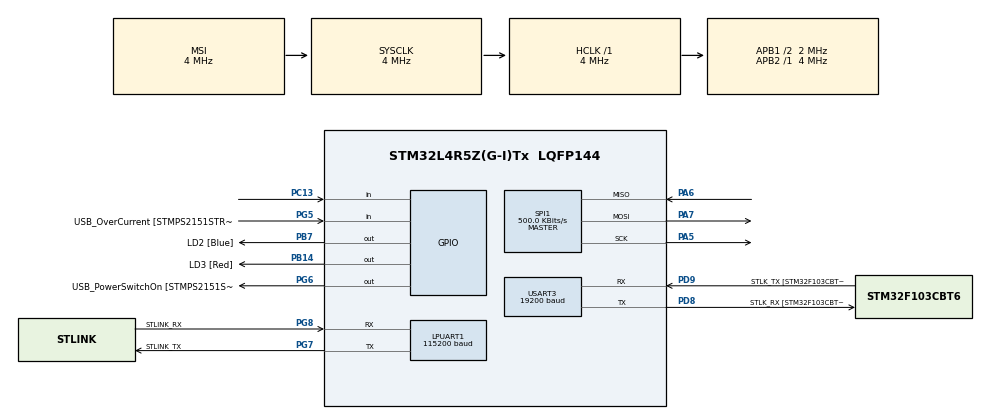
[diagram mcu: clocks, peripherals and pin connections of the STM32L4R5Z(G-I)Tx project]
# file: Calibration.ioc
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LPUART1.BaudRate=115200
LPUART1.WordLength=UART_WORDLENGTH_8B
Mcu.Family=STM32L4
Mcu.Name=STM32L4R5Z(G-I)Tx
Mcu.Package=LQFP144
NVIC.PriorityGroup=NVIC_PRIORITYGROUP_4
PA10.GPIO_Label=USB_ID
PA10.Signal=USB_OTG_FS_ID
PA11.GPIO_Label=USB_DM
PA11.Signal=USB_OTG_FS_DM
PA12.GPIO_Label=USB_DP
PA12.Signal=USB_OTG_FS_DP
PA13\ (JTMS/SWDIO).GPIO_Label=TMS
PA13\ (JTMS/SWDIO).Mode=Trace_Asynchronous_SW
PA13\ (JTMS/SWDIO).Signal=SYS_JTMS-SWDIO
PA14\ (JTCK/SWCLK).GPIO_Label=TCK
PA14\ (JTCK/SWCLK).Mode=Trace_Asynchronous_SW
PA14\ (JTCK/SWCLK).Signal=SYS_JTCK-SWCLK
PA5.Mode=Full_Duplex_Master
PA5.Signal=SPI1_SCK
PA6.Mode=Full_Duplex_Master
PA6.Signal=SPI1_MISO
PA7.Mode=Full_Duplex_Master
PA7.Signal=SPI1_MOSI
PA8.GPIO_Label=USB_SOF [TP1]
PA8.Signal=USB_OTG_FS_SOF
PA9.GPIO_Label=USB_VBUS
PA9.Signal=USB_OTG_FS_VBUS
PB14.GPIO_Label=LD3 [Red]
PB14.Signal=GPIO_Output
PB3\ (JTDO/TRACESWO).GPIO_Label=SWO
PB3\ (JTDO/TRACESWO).Mode=Trace_Asynchronous_SW
PB3\ (JTDO/TRACESWO).Signal=SYS_JTDO-SWO
PB7.GPIO_Label=LD2 [Blue]
PB7.Signal=GPIO_Output
PC13.Signal=GPIO_Input
PC14-OSC32_IN\ (PC14).Mode=LSE-External-Oscillator
PC14-OSC32_IN\ (PC14).Signal=RCC_OSC32_IN
PC15-OSC32_OUT\ (PC15).Mode=LSE-External-Oscillator
PC15-OSC32_OUT\ (PC15).Signal=RCC_OSC32_OUT
PD8.GPIO_Label=STLK_RX [STM32F103CBT6_PA3]
PD8.Mode=Asynchronous
PD8.Signal=USART3_TX
PD9.GPIO_Label=STLK_TX [STM32F103CBT6_PA2]
PD9.Mode=Asynchronous
PD9.Signal=USART3_RX
PG5.GPIO_Label=USB_OverCurrent [STMPS2151STR_FAULT]
PG5.Signal=GPIO_Input
PG6.GPIO_Label=USB_PowerSwitchOn [STMPS2151STR_En]
PG6.Signal=GPIO_Output
PG7.GPIO_Label=STLINK_TX
PG7.Mode=Asynchronous
PG7.Signal=LPUART1_TX
PG8.GPIO_Label=STLINK_RX
PG8.Mode=Asynchronous
PG8.Signal=LPUART1_RX
PH0-OSC_IN\ (PH0).Mode=HSE-External-Clock-Source
PH0-OSC_IN\ (PH0).Signal=RCC_OSC_IN
PH1-OSC_OUT\ (PH1).Signal=RCC_OSC_OUT
ProjectManager.HeapSize=0x200
ProjectManager.StackSize=0x400
ProjectManager.TargetToolchain=STM32CubeIDE
RCC.48MHZClocksFreq_Value=24000000
RCC.AHBFreq_Value=4000000
RCC.APB1CLKDivider=RCC_HCLK_DIV2
RCC.APB1Freq_Value=2000000
RCC.APB1TimFreq_Value=4000000
RCC.APB2Freq_Value=4000000
RCC.APB2TimFreq_Value=4000000
RCC.CortexFreq_Value=4000000
RCC.HCLKFreq_Value=4000000
RCC.HSE_VALUE=8000000
RCC.HSI48_VALUE=48000000
RCC.HSI_VALUE=16000000
RCC.MSI_VALUE=4000000
RCC.PLLMUL=RCC_PLL_MUL9
RCC.PRESCALERUSB=RCC_USBCLKSOURCE_PLL_DIV1_5
RCC.SYSCLKFreq_VALUE=4000000
RCC.SYSCLKSourceVirtual=RCC_SYSCLKSOURCE_PLLCLK
RCC.USBFreq_Value=16000000
RCC.VCOOutputFreq_Value=32000000
SPI1.BaudRatePrescaler=SPI_BAUDRATEPRESCALER_8
SPI1.CalculateBaudRate=500.0 KBits/s
SPI1.DataSize=SPI_DATASIZE_8BIT
SPI1.Direction=SPI_DIRECTION_2LINES
SPI1.Mode=SPI_MODE_MASTER
SPI1.VirtualType=VM_MASTER
USART3.BaudRate=19200
USART3.VirtualMode-Asynchronous=VM_ASYNC
board=NUCLEO-L4R5ZI

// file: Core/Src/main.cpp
/* USER CODE BEGIN Header */
/**
 ******************************************************************************
 * @file           : main.c
 * @brief          : Main program body
 ******************************************************************************
 * @attention
 *
 * Copyright (c) 2025 STMicroelectronics.
 * All rights reserved.
 *
 * This software is licensed under terms that can be found in the LICENSE file
 * in the root directory of this software component.
 * If no LICENSE file comes with this software, it is provided AS-IS.
 *
 ******************************************************************************
 */
/* USER CODE END Header */
#include "main.h"

/* USER CODE BEGIN Includes */
#include <cstdio>
#include "Pixy2UART.h"
/* USER CODE END Includes */

/* USER CODE BEGIN PTD */
typedef struct {
	uint8_t blue;
	uint8_t green;
	uint8_t red;
	uint8_t brightness;  // 0-31
} APA102_LED;

typedef struct {
    uint16_t x_center;
    uint16_t y_center;
    uint16_t radius;
} ParkingSpot;
/* USER CODE END PTD */

/* USER CODE BEGIN PD */
#define NUM_LEDS	36
#define NUM_SPOTS	36
#define CAPTURE_TIME_MS	5000
#define DEBOUNCE_TIME_MS 50
/* USER CODE END PD */

UART_HandleTypeDef hlpuart1;
UART_HandleTypeDef huart3;

SPI_HandleTypeDef hspi1;

/* USER CODE BEGIN PV */
APA102_LED led_strip[NUM_SPOTS];
Pixy2UART pixy;
ParkingSpot parking_spots[NUM_SPOTS];
uint8_t current_spot = 0;
/* USER CODE END PV */

void SystemClock_Config(void);
static void MX_GPIO_Init(void);
static void MX_LPUART1_UART_Init(void);
static void MX_USART3_UART_Init(void);
static void MX_SPI1_Init(void);
/* USER CODE BEGIN PFP */
void DWT_Init(void);
void print(const char *msg);
void APA102_SendFrame();
void set_led(int index, uint8_t r, uint8_t g, uint8_t b, uint8_t brightness);
void clear_leds();
bool is_button_pressed();
/* USER CODE END PFP */

int main(void)
{

  /* MCU Configuration--------------------------------------------------------*/

  /* Reset of all peripherals, Initializes the Flash interface and the Systick. */
  HAL_Init();

  /* Configure the system clock */
  SystemClock_Config();

  /* Initialize all configured peripherals */
  MX_GPIO_Init();
  MX_LPUART1_UART_Init();
  MX_USART3_UART_Init();
  MX_SPI1_Init();
  /* USER CODE BEGIN 2 */
	DWT_Init();
  /* USER CODE END 2 */

  /* Infinite loop */
	while (1) {

    /* USER CODE BEGIN 3 */
		// Blink current spot LED
		set_led(current_spot, 0, 0, 255, 15); // Blue
		APA102_SendFrame();
		HAL_Delay(1000);
		set_led(current_spot, 0, 0, 0, 1);
		APA102_SendFrame();
		HAL_Delay(1000);

		if (is_button_pressed() ) {

			printf("Calibrating spot %d...\r\n", current_spot);

			// Solid blue during capture
			//set_led(current_spot, 0, 0, 255, 31);
			//APA102_SendFrame();

			uint32_t start_time = HAL_GetTick();
			uint32_t total_x = 0;
			uint32_t total_y = 0;
			uint32_t current_x = 0;
			uint32_t current_y = 0;
			uint16_t samples = 0;

			while ((HAL_GetTick() - start_time) < CAPTURE_TIME_MS) {
				pixy.ccc.getBlocks();
				if (pixy.ccc.numBlocks > 0) {
					current_x = pixy.ccc.blocks[0].m_x;
					current_y = pixy.ccc.blocks[0].m_y;
					total_x += current_x;
					total_y += current_y;
					samples++;
					printf("Recognized block position: %d, %d\r\n", current_x, current_y);
				}
				HAL_Delay (10);
			}

			if (samples > 0) {
				parking_spots[current_spot].x_center = total_x / samples;
				parking_spots[current_spot].y_center = total_y / samples;
				parking_spots[current_spot].radius = 20; // Default radius

				// Green indicates success
				set_led(current_spot, 0, 255, 0, 31);
				printf("Spot %d: X=%u, Y=%u\r\n", current_spot,
						parking_spots[current_spot].x_center,
						parking_spots[current_spot].y_center);
			} else {
				// Red indicates failure
				set_led(current_spot, 255, 0, 0, 31);
				printf("Error: No tag detected for spot %d\r\n", current_spot);
			}

			APA102_SendFrame();
			HAL_Delay(2000);

			if (++current_spot >= NUM_SPOTS) {
				printf("Calibration Complete!\r\nFinal Positions:\r\n");
				for (int i = 0; i < NUM_SPOTS; i++) {
					printf("Spot %02d: X=%4u, Y=%4u\r\n", i,
							parking_spots[i].x_center,
							parking_spots[i].y_center);
				}
				while (1)
					; // End calibration
			}
		}
	}

  /* USER CODE END 3 */
}

void SystemClock_Config(void)
{
  RCC_OscInitTypeDef RCC_OscInitStruct = {0};
  RCC_ClkInitTypeDef RCC_ClkInitStruct = {0};

  /** Configure the main internal regulator output voltage
  */
  if (HAL_PWREx_ControlVoltageScaling(PWR_REGULATOR_VOLTAGE_SCALE1) != HAL_OK)
  {
    Error_Handler();
  }

  /** Initializes the RCC Oscillators according to the specified parameters
  * in the RCC_OscInitTypeDef structure.
  */
  RCC_OscInitStruct.OscillatorType = RCC_OSCILLATORTYPE_MSI;
  RCC_OscInitStruct.MSIState = RCC_MSI_ON;
  RCC_OscInitStruct.MSICalibrationValue = 0;
  RCC_OscInitStruct.MSIClockRange = RCC_MSIRANGE_6;
  RCC_OscInitStruct.PLL.PLLState = RCC_PLL_NONE;
  if (HAL_RCC_OscConfig(&RCC_OscInitStruct) != HAL_OK)
  {
    Error_Handler();
  }

  /** Initializes the CPU, AHB and APB buses clocks
  */
  RCC_ClkInitStruct.ClockType = RCC_CLOCKTYPE_HCLK|RCC_CLOCKTYPE_SYSCLK
                              |RCC_CLOCKTYPE_PCLK1|RCC_CLOCKTYPE_PCLK2;
  RCC_ClkInitStruct.SYSCLKSource = RCC_SYSCLKSOURCE_MSI;
  RCC_ClkInitStruct.AHBCLKDivider = RCC_SYSCLK_DIV1;
  RCC_ClkInitStruct.APB1CLKDivider = RCC_HCLK_DIV2;
  RCC_ClkInitStruct.APB2CLKDivider = RCC_HCLK_DIV1;

  if (HAL_RCC_ClockConfig(&RCC_ClkInitStruct, FLASH_LATENCY_0) != HAL_OK)
  {
    Error_Handler();
  }
}

static void MX_LPUART1_UART_Init(void)
{

  hlpuart1.Instance = LPUART1;
  hlpuart1.Init.BaudRate = 115200;
  hlpuart1.Init.WordLength = UART_WORDLENGTH_8B;
  hlpuart1.Init.StopBits = UART_STOPBITS_1;
  hlpuart1.Init.Parity = UART_PARITY_NONE;
  hlpuart1.Init.Mode = UART_MODE_TX_RX;
  hlpuart1.Init.HwFlowCtl = UART_HWCONTROL_NONE;
  hlpuart1.Init.OneBitSampling = UART_ONE_BIT_SAMPLE_DISABLE;
  hlpuart1.Init.ClockPrescaler = UART_PRESCALER_DIV1;
  hlpuart1.AdvancedInit.AdvFeatureInit = UART_ADVFEATURE_NO_INIT;
  hlpuart1.FifoMode = UART_FIFOMODE_DISABLE;
  if (HAL_UART_Init(&hlpuart1) != HAL_OK)
  {
    Error_Handler();
  }
  if (HAL_UARTEx_SetTxFifoThreshold(&hlpuart1, UART_TXFIFO_THRESHOLD_1_8) != HAL_OK)
  {
    Error_Handler();
  }
  if (HAL_UARTEx_SetRxFifoThreshold(&hlpuart1, UART_RXFIFO_THRESHOLD_1_8) != HAL_OK)
  {
    Error_Handler();
  }
  if (HAL_UARTEx_DisableFifoMode(&hlpuart1) != HAL_OK)
  {
    Error_Handler();
  }

}

static void MX_USART3_UART_Init(void)
{

  huart3.Instance = USART3;
  huart3.Init.BaudRate = 19200;
  huart3.Init.WordLength = UART_WORDLENGTH_8B;
  huart3.Init.StopBits = UART_STOPBITS_1;
  huart3.Init.Parity = UART_PARITY_NONE;
  huart3.Init.Mode = UART_MODE_TX_RX;
  huart3.Init.HwFlowCtl = UART_HWCONTROL_NONE;
  huart3.Init.OverSampling = UART_OVERSAMPLING_16;
  huart3.Init.OneBitSampling = UART_ONE_BIT_SAMPLE_DISABLE;
  huart3.Init.ClockPrescaler = UART_PRESCALER_DIV1;
  huart3.AdvancedInit.AdvFeatureInit = UART_ADVFEATURE_NO_INIT;
  if (HAL_UART_Init(&huart3) != HAL_OK)
  {
    Error_Handler();
  }
  if (HAL_UARTEx_SetTxFifoThreshold(&huart3, UART_TXFIFO_THRESHOLD_1_8) != HAL_OK)
  {
    Error_Handler();
  }
  if (HAL_UARTEx_SetRxFifoThreshold(&huart3, UART_RXFIFO_THRESHOLD_1_8) != HAL_OK)
  {
    Error_Handler();
  }
  if (HAL_UARTEx_DisableFifoMode(&huart3) != HAL_OK)
  {
    Error_Handler();
  }

}

static void MX_SPI1_Init(void)
{

  /* SPI1 parameter configuration*/
  hspi1.Instance = SPI1;
  hspi1.Init.Mode = SPI_MODE_MASTER;
  hspi1.Init.Direction = SPI_DIRECTION_2LINES;
  hspi1.Init.DataSize = SPI_DATASIZE_8BIT;
  hspi1.Init.CLKPolarity = SPI_POLARITY_LOW;
  hspi1.Init.CLKPhase = SPI_PHASE_1EDGE;
  hspi1.Init.NSS = SPI_NSS_SOFT;
  hspi1.Init.BaudRatePrescaler = SPI_BAUDRATEPRESCALER_8;
  hspi1.Init.FirstBit = SPI_FIRSTBIT_MSB;
  hspi1.Init.TIMode = SPI_TIMODE_DISABLE;
  hspi1.Init.CRCCalculation = SPI_CRCCALCULATION_DISABLE;
  hspi1.Init.CRCPolynomial = 7;
  hspi1.Init.CRCLength = SPI_CRC_LENGTH_DATASIZE;
  hspi1.Init.NSSPMode = SPI_NSS_PULSE_ENABLE;
  if (HAL_SPI_Init(&hspi1) != HAL_OK)
  {
    Error_Handler();
  }

}

static void MX_GPIO_Init(void)
{
  GPIO_InitTypeDef GPIO_InitStruct = {0};

  /* GPIO Ports Clock Enable */
  __HAL_RCC_GPIOC_CLK_ENABLE();
  __HAL_RCC_GPIOH_CLK_ENABLE();
  __HAL_RCC_GPIOA_CLK_ENABLE();
  __HAL_RCC_GPIOB_CLK_ENABLE();
  __HAL_RCC_GPIOD_CLK_ENABLE();
  __HAL_RCC_GPIOG_CLK_ENABLE();
  HAL_PWREx_EnableVddIO2();

  /*Configure GPIO pin Output Level */
  HAL_GPIO_WritePin(GPIOB, LD3_Pin|LD2_Pin, GPIO_PIN_RESET);

  /*Configure GPIO pin Output Level */
  HAL_GPIO_WritePin(USB_PowerSwitchOn_GPIO_Port, USB_PowerSwitchOn_Pin, GPIO_PIN_RESET);

  /*Configure GPIO pin : PC13 */
  GPIO_InitStruct.Pin = GPIO_PIN_13;
  GPIO_InitStruct.Mode = GPIO_MODE_INPUT;
  GPIO_InitStruct.Pull = GPIO_NOPULL;
  HAL_GPIO_Init(GPIOC, &GPIO_InitStruct);

  /*Configure GPIO pins : LD3_Pin LD2_Pin */
  GPIO_InitStruct.Pin = LD3_Pin|LD2_Pin;
  GPIO_InitStruct.Mode = GPIO_MODE_OUTPUT_PP;
  GPIO_InitStruct.Pull = GPIO_NOPULL;
  GPIO_InitStruct.Speed = GPIO_SPEED_FREQ_LOW;
  HAL_GPIO_Init(GPIOB, &GPIO_InitStruct);

  /*Configure GPIO pin : USB_OverCurrent_Pin */
  GPIO_InitStruct.Pin = USB_OverCurrent_Pin;
  GPIO_InitStruct.Mode = GPIO_MODE_INPUT;
  GPIO_InitStruct.Pull = GPIO_NOPULL;
  HAL_GPIO_Init(USB_OverCurrent_GPIO_Port, &GPIO_InitStruct);

  /*Configure GPIO pin : USB_PowerSwitchOn_Pin */
  GPIO_InitStruct.Pin = USB_PowerSwitchOn_Pin;
  GPIO_InitStruct.Mode = GPIO_MODE_OUTPUT_PP;
  GPIO_InitStruct.Pull = GPIO_NOPULL;
  GPIO_InitStruct.Speed = GPIO_SPEED_FREQ_LOW;
  HAL_GPIO_Init(USB_PowerSwitchOn_GPIO_Port, &GPIO_InitStruct);

  /*Configure GPIO pins : USB_SOF_Pin USB_ID_Pin USB_DM_Pin USB_DP_Pin */
  GPIO_InitStruct.Pin = USB_SOF_Pin|USB_ID_Pin|USB_DM_Pin|USB_DP_Pin;
  GPIO_InitStruct.Mode = GPIO_MODE_AF_PP;
  GPIO_InitStruct.Pull = GPIO_NOPULL;
  GPIO_InitStruct.Speed = GPIO_SPEED_FREQ_VERY_HIGH;
  GPIO_InitStruct.Alternate = GPIO_AF10_OTG_FS;
  HAL_GPIO_Init(GPIOA, &GPIO_InitStruct);

  /*Configure GPIO pin : USB_VBUS_Pin */
  GPIO_InitStruct.Pin = USB_VBUS_Pin;
  GPIO_InitStruct.Mode = GPIO_MODE_INPUT;
  GPIO_InitStruct.Pull = GPIO_NOPULL;
  HAL_GPIO_Init(USB_VBUS_GPIO_Port, &GPIO_InitStruct);

}

/* USER CODE BEGIN 4 */
#ifdef __GNUC__
#define PUTCHAR_PROTOTYPE int __io_putchar(int ch)
#else
#define PUTCHAR_PROTOTYPE int fputc(int ch, FILE *f)
#endif /* __GNUC__ */
PUTCHAR_PROTOTYPE {
	HAL_UART_Transmit(&hlpuart1, (uint8_t*) &ch, 1, 0xFFFF);
	return ch;
}

void DWT_Init(void) {
	CoreDebug->DEMCR |= CoreDebug_DEMCR_TRCENA_Msk;  // Enable DWT
	DWT->CYCCNT = 0;                                 // Reset counter
	DWT->CTRL |= DWT_CTRL_CYCCNTENA_Msk;             // Enable the cycle counter
}

bool is_button_pressed() {
    static uint32_t last_press_time = 0;
    static bool last_button_state = false;

    // Read current state
    bool current_state = (HAL_GPIO_ReadPin(GPIOC, GPIO_PIN_13) == GPIO_PIN_SET);

    // Debounce logic
    if (current_state && !last_button_state) {
        if ((HAL_GetTick() - last_press_time) > DEBOUNCE_TIME_MS) {
            last_press_time = HAL_GetTick();
            last_button_state = true;
            return true;
        }
    }

    // Update state
    last_button_state = current_state;
    return false;
}

void APA102_SendFrame() {
	uint8_t startFrame[4] = { 0x00, 0x00, 0x00, 0x00 };
	HAL_SPI_Transmit(&hspi1, startFrame, 4, HAL_MAX_DELAY);

	for (int i = 0; i < NUM_LEDS; i++) {
		uint8_t frame[4];
		frame[0] = 0b11100000 | (led_strip[i].brightness & 0x1F); // Brightness frame
		frame[1] = led_strip[i].blue;
		frame[2] = led_strip[i].green;
		frame[3] = led_strip[i].red;
		HAL_SPI_Transmit(&hspi1, frame, 4, HAL_MAX_DELAY);
	}

	uint8_t endFrame[(NUM_LEDS / 16) + 1];
	memset(endFrame, 0xFF, sizeof(endFrame));
	HAL_SPI_Transmit(&hspi1, endFrame, sizeof(endFrame), HAL_MAX_DELAY);
}

void set_led(int index, uint8_t r, uint8_t g, uint8_t b, uint8_t brightness) {
	if (index >= 0 && index < NUM_LEDS) {
		led_strip[index].red = r;
		led_strip[index].green = g;
		led_strip[index].blue = b;
		led_strip[index].brightness = brightness;
	}
}

void clear_leds() {
	for (int i = 0; i < NUM_LEDS; i++) {
		set_led(i, 0, 0, 0, 1);  // Off
	}
}
/* USER CODE END 4 */

void Error_Handler(void)
{
__disable_irq();
while (1) {
}
}
